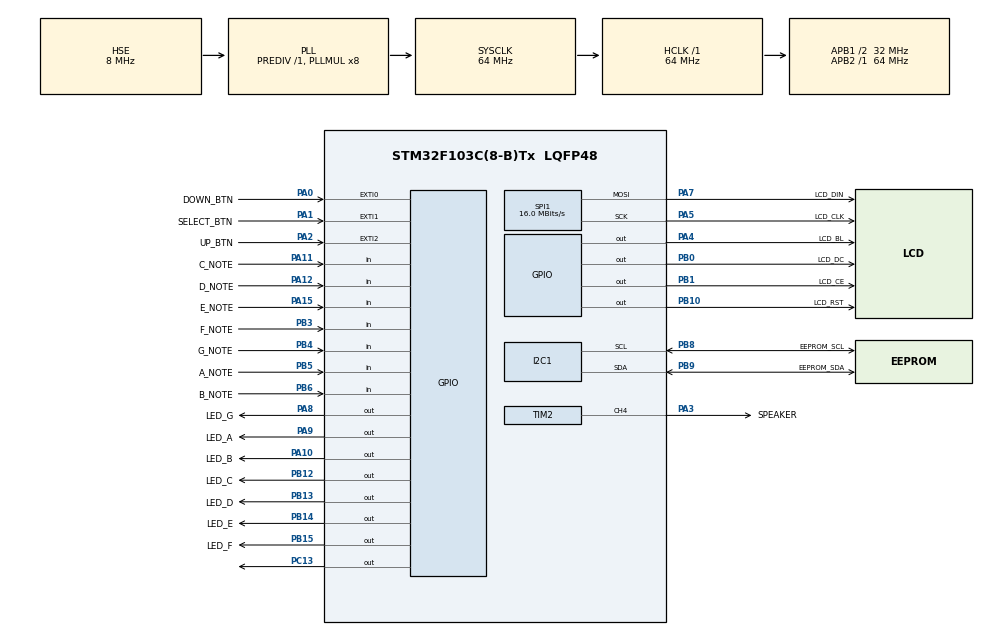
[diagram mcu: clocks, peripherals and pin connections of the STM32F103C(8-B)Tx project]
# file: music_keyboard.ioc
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Dma.Request0=TIM2_CH2/CH4
Dma.TIM2_CH2/CH4.0.Direction=DMA_PERIPH_TO_MEMORY
Dma.TIM2_CH2/CH4.0.Instance=DMA1_Channel7
Dma.TIM2_CH2/CH4.0.MemDataAlignment=DMA_MDATAALIGN_HALFWORD
Dma.TIM2_CH2/CH4.0.MemInc=DMA_MINC_ENABLE
Dma.TIM2_CH2/CH4.0.Mode=DMA_CIRCULAR
Dma.TIM2_CH2/CH4.0.PeriphDataAlignment=DMA_PDATAALIGN_HALFWORD
Dma.TIM2_CH2/CH4.0.PeriphInc=DMA_PINC_DISABLE
Dma.TIM2_CH2/CH4.0.Priority=DMA_PRIORITY_LOW
Mcu.Family=STM32F1
Mcu.Name=STM32F103C(8-B)Tx
Mcu.Package=LQFP48
NVIC.DMA1_Channel7_IRQn=true\:0\:0\:false\:false\:true\:false\:true
NVIC.EXTI0_IRQn=true\:0\:0\:false\:false\:true\:true\:true
NVIC.EXTI1_IRQn=true\:0\:0\:false\:false\:true\:true\:true
NVIC.EXTI2_IRQn=true\:0\:0\:false\:false\:true\:true\:true
NVIC.PriorityGroup=NVIC_PRIORITYGROUP_4
NVIC.SPI1_IRQn=true\:0\:0\:false\:false\:true\:true\:true
PA0-WKUP.GPIO_Label=DOWN_BTN
PA0-WKUP.GPIO_ModeDefaultEXTI=GPIO_MODE_IT_FALLING
PA0-WKUP.GPIO_PuPd=GPIO_PULLUP
PA0-WKUP.Signal=GPXTI0
PA1.GPIO_Label=SELECT_BTN
PA1.GPIO_ModeDefaultEXTI=GPIO_MODE_IT_FALLING
PA1.GPIO_PuPd=GPIO_PULLUP
PA1.Signal=GPXTI1
PA10.GPIO_Label=LED_B
PA10.PinState=GPIO_PIN_SET
PA10.Signal=GPIO_Output
PA11.GPIO_Label=C_NOTE
PA11.GPIO_PuPd=GPIO_PULLDOWN
PA11.Signal=GPIO_Input
PA12.GPIO_Label=D_NOTE
PA12.GPIO_PuPd=GPIO_PULLDOWN
PA12.Signal=GPIO_Input
PA13.Mode=Serial_Wire
PA13.Signal=SYS_JTMS-SWDIO
PA14.Mode=Serial_Wire
PA14.Signal=SYS_JTCK-SWCLK
PA15.GPIO_Label=E_NOTE
PA15.GPIO_PuPd=GPIO_PULLDOWN
PA15.Signal=GPIO_Input
PA2.GPIO_Label=UP_BTN
PA2.GPIO_ModeDefaultEXTI=GPIO_MODE_IT_FALLING
PA2.GPIO_PuPd=GPIO_PULLUP
PA2.Signal=GPXTI2
PA3.GPIO_Label=SPEAKER
PA3.Signal=S_TIM2_CH4
PA4.GPIO_Label=LCD_BL
PA4.Signal=GPIO_Output
PA5.GPIO_Label=LCD_CLK
PA5.Mode=TX_Only_Simplex_Unidirect_Master
PA5.Signal=SPI1_SCK
PA6.Signal=SPI1_MISO
PA7.GPIO_Label=LCD_DIN
PA7.Mode=TX_Only_Simplex_Unidirect_Master
PA7.Signal=SPI1_MOSI
PA8.GPIO_Label=LED_G
PA8.PinState=GPIO_PIN_SET
PA8.Signal=GPIO_Output
PA9.GPIO_Label=LED_A
PA9.PinState=GPIO_PIN_SET
PA9.Signal=GPIO_Output
PB0.GPIO_Label=LCD_DC
PB0.Signal=GPIO_Output
PB1.GPIO_Label=LCD_CE
PB1.Signal=GPIO_Output
PB10.GPIO_Label=LCD_RST
PB10.Signal=GPIO_Output
PB12.GPIO_Label=LED_C
PB12.PinState=GPIO_PIN_SET
PB12.Signal=GPIO_Output
PB13.GPIO_Label=LED_D
PB13.PinState=GPIO_PIN_SET
PB13.Signal=GPIO_Output
PB14.GPIO_Label=LED_E
PB14.PinState=GPIO_PIN_SET
PB14.Signal=GPIO_Output
PB15.GPIO_Label=LED_F
PB15.PinState=GPIO_PIN_SET
PB15.Signal=GPIO_Output
PB3.GPIO_Label=F_NOTE
PB3.GPIO_PuPd=GPIO_PULLDOWN
PB3.Signal=GPIO_Input
PB4.GPIO_Label=G_NOTE
PB4.GPIO_PuPd=GPIO_PULLDOWN
PB4.Signal=GPIO_Input
PB5.GPIO_Label=A_NOTE
PB5.GPIO_PuPd=GPIO_PULLDOWN
PB5.Signal=GPIO_Input
PB6.GPIO_Label=B_NOTE
PB6.GPIO_PuPd=GPIO_PULLDOWN
PB6.Signal=GPIO_Input
PB8.GPIO_Label=EEPROM_SCL
PB8.Mode=I2C
PB8.Signal=I2C1_SCL
PB9.GPIO_Label=EEPROM_SDA
PB9.Mode=I2C
PB9.Signal=I2C1_SDA
PC13-TAMPER-RTC.Signal=GPIO_Output
PD0-OSC_IN.Mode=HSE-External-Oscillator
PD0-OSC_IN.Signal=RCC_OSC_IN
PD1-OSC_OUT.Mode=HSE-External-Oscillator
PD1-OSC_OUT.Signal=RCC_OSC_OUT
ProjectManager.HeapSize=0x200
ProjectManager.StackSize=0x400
ProjectManager.TargetToolchain=STM32CubeIDE
RCC.AHBFreq_Value=64000000
RCC.APB1CLKDivider=RCC_HCLK_DIV2
RCC.APB1Freq_Value=32000000
RCC.APB1TimFreq_Value=64000000
RCC.APB2Freq_Value=64000000
RCC.APB2TimFreq_Value=64000000
RCC.HCLKFreq_Value=64000000
RCC.PLLMUL=RCC_PLL_MUL8
RCC.PLLSourceVirtual=RCC_PLLSOURCE_HSE
RCC.SYSCLKFreq_VALUE=64000000
RCC.SYSCLKSource=RCC_SYSCLKSOURCE_PLLCLK
RCC.USBFreq_Value=64000000
SH.S_TIM2_CH4.0=TIM2_CH4,PWM Generation4 CH4
SPI1.BaudRatePrescaler=SPI_BAUDRATEPRESCALER_4
SPI1.CalculateBaudRate=16.0 MBits/s
SPI1.Direction=SPI_DIRECTION_2LINES
SPI1.Mode=SPI_MODE_MASTER
SPI1.VirtualType=VM_MASTER
TIM1.Period=999
TIM1.Prescaler=63
TIM2.Channel-PWM\ Generation4\ CH4=TIM_CHANNEL_4
TIM2.Period=255
TIM2.Prescaler=63
TIM3.Period=255
VP_TIM1_VS_ClockSourceINT.Mode=Internal
VP_TIM3_VS_ClockSourceINT.Mode=Internal
board=custom

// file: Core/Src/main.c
/* USER CODE BEGIN Header */
/**
  ******************************************************************************
  * @file           : main.c
  * @brief          : Main program body
  ******************************************************************************
  * @attention
  *
  * <h2><center>&copy; Copyright (c) 2020 STMicroelectronics.
  * All rights reserved.</center></h2>
  *
  * This software component is licensed by ST under BSD 3-Clause license,
  * the "License"; You may not use this file except in compliance with the
  * License. You may obtain a copy of the License at:
  *                        opensource.org/licenses/BSD-3-Clause
  *
  ******************************************************************************
  */
/* USER CODE END Header */
#include "main.h"
#include "dma.h"
#include "i2c.h"
#include "spi.h"
#include "tim.h"
#include "gpio.h"

/* USER CODE BEGIN Includes */
#include <math.h>
#include <stdbool.h>
#include <stdint.h>
#include "LCD_Nokia5110.h"
#include "menu.h"
/* USER CODE END Includes */

/* USER CODE BEGIN PV */
extern mode_t mode;
extern bool song_chosen;
extern uint8_t song_index;
uint16_t *song;
uint8_t length;
uint16_t ameno[] = {E5, F5, F5, E5, F5, F5, F5, E5, F5, F5, F5, E5, F5, F5, G5, F5, F5, G5, F5, F5, F5, E5, E5, F5, E5, E5, E5, E5, F5, F5};
uint16_t dango[] = {E5, D5, G5, G5, A5, A5, B5, G5, D5, E5, D5, G5, G5, A5, A5, B5, B5, G5};
const uint16_t jingle[] = {
		E5, E5, E5, E5, E5, E5, E5, G5, C5, D5, E5,
		F5, F5, F5, F5, E5, E5, E5,
		E5, D5, D5, E5, D5, G5,
		E5, E5, E5, E5, E5, E5, E5, G5, C5, D5, E5,
		F5, F5, F5, F5, E5, E5, E5,
		G5, G5, F5, D5, C5
};
const uint16_t mary[] = {
		E5, D5, C5, D5, E5, E5, E5,
		D5, D5, D5, E5, G5, G5,
		E5, D5, C5, D5, E5, E5, E5,
		E5, D5, D5, E5, D5, C5
};
const uint16_t twinkle[] = {
		C5, C5, G5, G5, A5, A5, G5,
		F5, F5, E5, E5, D5, D5, C5,
		G5, G5, F5, F5, E5, E5, D5,
		G5, G5, F5, F5, E5, E5, D5,
		C5, C5, G5, G5, A5, A5, G5,
		F5, F5, E5, E5, D5, D5, C5
};
/* USER CODE END PV */

void SystemClock_Config(void);

int main(void)
{

  /* MCU Configuration--------------------------------------------------------*/

  /* Reset of all peripherals, Initializes the Flash interface and the Systick. */
  HAL_Init();

  /* Configure the system clock */
  SystemClock_Config();

  /* Initialize all configured peripherals */
  MX_GPIO_Init();
  MX_DMA_Init();
  MX_SPI1_Init();
  MX_I2C1_Init();
  MX_TIM2_Init();
  MX_TIM1_Init();
  MX_TIM3_Init();
  /* USER CODE BEGIN 2 */
  HAL_Delay(500);
  HAL_TIM_PWM_Start(&htim2, TIM_CHANNEL_4);
  LCD_init();
  menu_init();
  uint8_t data;
  Read_From_24LCxx(0x1AAA, &data, 1);
  update_octave(&octave, data);
//  HAL_TIM_PWM_Start_DMA(&htim2, TIM_CHANNEL_4, (uint32_t *)piano, 10);

  /* USER CODE END 2 */

  /* Infinite loop */
  while (1)
  {

    /* USER CODE BEGIN 3 */
	  if (mode == PIANO)
	  {
		  HAL_GPIO_WritePin(LED_A_GPIO_Port, LED_A_Pin, 1);
		  HAL_GPIO_WritePin(LED_B_GPIO_Port, LED_B_Pin, 1);
		  HAL_GPIO_WritePin(LED_C_GPIO_Port, LED_C_Pin, 1);
		  HAL_GPIO_WritePin(LED_D_GPIO_Port, LED_D_Pin, 1);
		  HAL_GPIO_WritePin(LED_E_GPIO_Port, LED_E_Pin, 1);
		  HAL_GPIO_WritePin(LED_F_GPIO_Port, LED_F_Pin, 1);
		  HAL_GPIO_WritePin(LED_G_GPIO_Port, LED_G_Pin, 1);

		  if (HAL_GPIO_ReadPin(C_NOTE_GPIO_Port, C_NOTE_Pin) == GPIO_PIN_SET)
		  {
			  __HAL_TIM_SET_AUTORELOAD(&htim2, octave.C);
			  __HAL_TIM_SET_COMPARE(&htim2, TIM_CHANNEL_4, 500);
		  }
		  else if (HAL_GPIO_ReadPin(D_NOTE_GPIO_Port, D_NOTE_Pin) == GPIO_PIN_SET)
		  {
			  __HAL_TIM_SET_AUTORELOAD(&htim2, octave.D);
			  __HAL_TIM_SET_COMPARE(&htim2, TIM_CHANNEL_4, 500);
		  }
		  else if (HAL_GPIO_ReadPin(E_NOTE_GPIO_Port, E_NOTE_Pin) == GPIO_PIN_SET)
		  {
			  __HAL_TIM_SET_AUTORELOAD(&htim2, octave.E);
			  __HAL_TIM_SET_COMPARE(&htim2, TIM_CHANNEL_4, 500);
		  }
		  else if (HAL_GPIO_ReadPin(F_NOTE_GPIO_Port, F_NOTE_Pin) == GPIO_PIN_SET)
		  {
			  __HAL_TIM_SET_AUTORELOAD(&htim2, octave.F);
			  __HAL_TIM_SET_COMPARE(&htim2, TIM_CHANNEL_4, 500);
		  }
		  else if (HAL_GPIO_ReadPin(G_NOTE_GPIO_Port, G_NOTE_Pin) == GPIO_PIN_SET)
		  {
			  __HAL_TIM_SET_AUTORELOAD(&htim2, octave.G);
			  __HAL_TIM_SET_COMPARE(&htim2, TIM_CHANNEL_4, 500);
		  }
		  else if (HAL_GPIO_ReadPin(A_NOTE_GPIO_Port, A_NOTE_Pin) == GPIO_PIN_SET)
		  {
			  __HAL_TIM_SET_AUTORELOAD(&htim2, octave.A);
			  __HAL_TIM_SET_COMPARE(&htim2, TIM_CHANNEL_4, 500);
		  }
		  else if (HAL_GPIO_ReadPin(B_NOTE_GPIO_Port, B_NOTE_Pin) == GPIO_PIN_SET)
		  {
			  __HAL_TIM_SET_AUTORELOAD(&htim2, octave.B);
			  __HAL_TIM_SET_COMPARE(&htim2, TIM_CHANNEL_4, 500);
		  }
		  else
		  {
			  __HAL_TIM_SET_COMPARE(&htim2, TIM_CHANNEL_4, 0);
		  }
	  }
	  if (mode == PRACTICE && song_chosen)
	  {
		  switch (song_index)
		  {
		  case 1:
			  song = jingle;
			  length = sizeof(jingle) / sizeof(uint16_t);
			  break;
		  case 2:
			  song = mary;
			  length = sizeof(mary) / sizeof(uint16_t);
			  break;
		  case 3:
			  song = twinkle;
			  length = sizeof(twinkle) / sizeof(uint16_t);
			  break;
		  }
		  for (int i = 0; i < length && song_chosen; i++)
		  {
			  HAL_GPIO_WritePin(LED_A_GPIO_Port, LED_A_Pin, 1);
			  HAL_GPIO_WritePin(LED_B_GPIO_Port, LED_B_Pin, 1);
			  HAL_GPIO_WritePin(LED_C_GPIO_Port, LED_C_Pin, 1);
			  HAL_GPIO_WritePin(LED_D_GPIO_Port, LED_D_Pin, 1);
			  HAL_GPIO_WritePin(LED_E_GPIO_Port, LED_E_Pin, 1);
			  HAL_GPIO_WritePin(LED_F_GPIO_Port, LED_F_Pin, 1);
			  HAL_GPIO_WritePin(LED_G_GPIO_Port, LED_G_Pin, 1);
			  while (mode == PRACTICE && song_chosen)
			  {
				  switch (song[i])
				  {
				  case C5: case C4:
					  while (mode == PRACTICE && song_chosen)
					  {
						  HAL_GPIO_WritePin(LED_C_GPIO_Port, LED_C_Pin, 0);
						  if (HAL_GPIO_ReadPin(C_NOTE_GPIO_Port, C_NOTE_Pin) == GPIO_PIN_SET)
						  {
							  __HAL_TIM_SET_AUTORELOAD(&htim2, song[i]);
							  __HAL_TIM_SET_COMPARE(&htim2, TIM_CHANNEL_4, 900);
							  HAL_Delay(200);
							  if (HAL_GPIO_ReadPin(C_NOTE_GPIO_Port, C_NOTE_Pin) == GPIO_PIN_RESET)
							  {
								  HAL_GPIO_WritePin(LED_C_GPIO_Port, LED_C_Pin, 1);
								  break;
							  }
						  }
					  }
					  break;
				  case D5: case D4:
					  while (mode == PRACTICE && song_chosen)
					  {
						  HAL_GPIO_WritePin(LED_D_GPIO_Port, LED_D_Pin, 0);
						  if (HAL_GPIO_ReadPin(D_NOTE_GPIO_Port, D_NOTE_Pin) == GPIO_PIN_SET)
						  {
							  __HAL_TIM_SET_AUTORELOAD(&htim2, song[i]);
							  __HAL_TIM_SET_COMPARE(&htim2, TIM_CHANNEL_4, 900);
							  HAL_Delay(200);
							  if (HAL_GPIO_ReadPin(D_NOTE_GPIO_Port, D_NOTE_Pin) == GPIO_PIN_RESET)
							  {
								  HAL_GPIO_WritePin(D_NOTE_GPIO_Port, D_NOTE_Pin, 1);
								  break;
							  }
						  }
					  }
					  break;
				  case E5: case E4:
					  while (mode == PRACTICE && song_chosen)
					  {
						  HAL_GPIO_WritePin(LED_E_GPIO_Port, LED_E_Pin, 0);
						  if (HAL_GPIO_ReadPin(E_NOTE_GPIO_Port, E_NOTE_Pin) == GPIO_PIN_SET)
						  {
							  __HAL_TIM_SET_AUTORELOAD(&htim2, song[i]);
							  __HAL_TIM_SET_COMPARE(&htim2, TIM_CHANNEL_4, 900);
							  HAL_Delay(200);
							  if (HAL_GPIO_ReadPin(E_NOTE_GPIO_Port, E_NOTE_Pin) == GPIO_PIN_RESET)
							  {
								  HAL_GPIO_WritePin(LED_E_GPIO_Port, LED_E_Pin, 1);
								  break;
							  }
						  }
					  }
					  break;
				  case F5: case F4:
					  while (mode == PRACTICE && song_chosen)
					  {
						  HAL_GPIO_WritePin(LED_F_GPIO_Port, LED_F_Pin, 0);
						  if (HAL_GPIO_ReadPin(F_NOTE_GPIO_Port, F_NOTE_Pin) == GPIO_PIN_SET)
						  {
							  __HAL_TIM_SET_AUTORELOAD(&htim2, song[i]);
							  __HAL_TIM_SET_COMPARE(&htim2, TIM_CHANNEL_4, 900);
							  HAL_Delay(200);
							  if (HAL_GPIO_ReadPin(F_NOTE_GPIO_Port, F_NOTE_Pin) == GPIO_PIN_RESET)
							  {
								  HAL_GPIO_WritePin(LED_F_GPIO_Port, LED_F_Pin, 1);
								  break;
							  }
						  }
					  }
					  break;
				  case G5: case G4:
					  while (mode == PRACTICE && song_chosen)
					  {
						  HAL_GPIO_WritePin(LED_G_GPIO_Port, LED_G_Pin, 0);
						  if (HAL_GPIO_ReadPin(G_NOTE_GPIO_Port, G_NOTE_Pin) == GPIO_PIN_SET)
						  {
							  __HAL_TIM_SET_AUTORELOAD(&htim2, song[i]);
							  __HAL_TIM_SET_COMPARE(&htim2, TIM_CHANNEL_4, 900);
							  HAL_Delay(200);
							  if (HAL_GPIO_ReadPin(G_NOTE_GPIO_Port, G_NOTE_Pin) == GPIO_PIN_RESET)
							  {
								  HAL_GPIO_WritePin(LED_G_GPIO_Port, LED_G_Pin, 1);
								  break;
							  }
						  }
					  }
					  break;
				  case A5: case A4:
					  while (mode == PRACTICE && song_chosen)
					  {
						  HAL_GPIO_WritePin(LED_A_GPIO_Port, LED_A_Pin, 0);
						  if (HAL_GPIO_ReadPin(A_NOTE_GPIO_Port, A_NOTE_Pin) == GPIO_PIN_SET)
						  {
							  __HAL_TIM_SET_AUTORELOAD(&htim2, song[i]);
							  __HAL_TIM_SET_COMPARE(&htim2, TIM_CHANNEL_4, 900);
							  HAL_Delay(200);
							  if (HAL_GPIO_ReadPin(A_NOTE_GPIO_Port, A_NOTE_Pin) == GPIO_PIN_RESET)
							  {
								  HAL_GPIO_WritePin(LED_A_GPIO_Port, LED_A_Pin, 1);
								  break;
							  }
						  }
					  }
					  break;
				  case B5: case B4:
					  while (mode == PRACTICE && song_chosen)
					  {
						  HAL_GPIO_WritePin(LED_B_GPIO_Port, LED_B_Pin, 0);
						  if (HAL_GPIO_ReadPin(B_NOTE_GPIO_Port, B_NOTE_Pin) == GPIO_PIN_SET)
						  {
							  __HAL_TIM_SET_AUTORELOAD(&htim2, song[i]);
							  __HAL_TIM_SET_COMPARE(&htim2, TIM_CHANNEL_4, 900);
							  HAL_Delay(200);
							  if (HAL_GPIO_ReadPin(B_NOTE_GPIO_Port, B_NOTE_Pin) == GPIO_PIN_RESET)
							  {
								  HAL_GPIO_WritePin(LED_B_GPIO_Port, LED_B_Pin, 1);
								  break;
							  }
						  }
					  }
					  break;
				  }
			  __HAL_TIM_SET_COMPARE(&htim2, TIM_CHANNEL_4, 0);
			  HAL_Delay(20);
			  break;
			  }
		  }
		  song_chosen = false;
	  }
  }
  /* USER CODE END 3 */
}

void SystemClock_Config(void)
{
  RCC_OscInitTypeDef RCC_OscInitStruct = {0};
  RCC_ClkInitTypeDef RCC_ClkInitStruct = {0};

  /** Initializes the RCC Oscillators according to the specified parameters
  * in the RCC_OscInitTypeDef structure.
  */
  RCC_OscInitStruct.OscillatorType = RCC_OSCILLATORTYPE_HSE;
  RCC_OscInitStruct.HSEState = RCC_HSE_ON;
  RCC_OscInitStruct.HSEPredivValue = RCC_HSE_PREDIV_DIV1;
  RCC_OscInitStruct.HSIState = RCC_HSI_ON;
  RCC_OscInitStruct.PLL.PLLState = RCC_PLL_ON;
  RCC_OscInitStruct.PLL.PLLSource = RCC_PLLSOURCE_HSE;
  RCC_OscInitStruct.PLL.PLLMUL = RCC_PLL_MUL8;
  if (HAL_RCC_OscConfig(&RCC_OscInitStruct) != HAL_OK)
  {
    Error_Handler();
  }
  /** Initializes the CPU, AHB and APB buses clocks
  */
  RCC_ClkInitStruct.ClockType = RCC_CLOCKTYPE_HCLK|RCC_CLOCKTYPE_SYSCLK
                              |RCC_CLOCKTYPE_PCLK1|RCC_CLOCKTYPE_PCLK2;
  RCC_ClkInitStruct.SYSCLKSource = RCC_SYSCLKSOURCE_PLLCLK;
  RCC_ClkInitStruct.AHBCLKDivider = RCC_SYSCLK_DIV1;
  RCC_ClkInitStruct.APB1CLKDivider = RCC_HCLK_DIV2;
  RCC_ClkInitStruct.APB2CLKDivider = RCC_HCLK_DIV1;

  if (HAL_RCC_ClockConfig(&RCC_ClkInitStruct, FLASH_LATENCY_2) != HAL_OK)
  {
    Error_Handler();
  }
}

/* USER CODE BEGIN 4 */
void update_octave(octave_t *octave, uint8_t n)
{
	switch (n)
	{
	case 4:
		octave->C = C4;
		octave->D = D4;
		octave->E = E4;
		octave->F = F4;
		octave->G = G4;
		octave->A = A4;
		octave->B = B4;
		break;
	case 5:
		octave->C = C5;
		octave->D = D5;
		octave->E = E5;
		octave->F = F5;
		octave->G = G5;
		octave->A = A5;
		octave->B = B5;
		break;
	case 6:
		octave->C = C6;
		octave->D = D6;
		octave->E = E6;
		octave->F = F6;
		octave->G = G6;
		octave->A = A6;
		octave->B = B6;
		break;
	}
}
/* USER CODE END 4 */

void Error_Handler(void)
{
}

/************************ (C) COPYRIGHT STMicroelectronics *****END OF FILE****/
